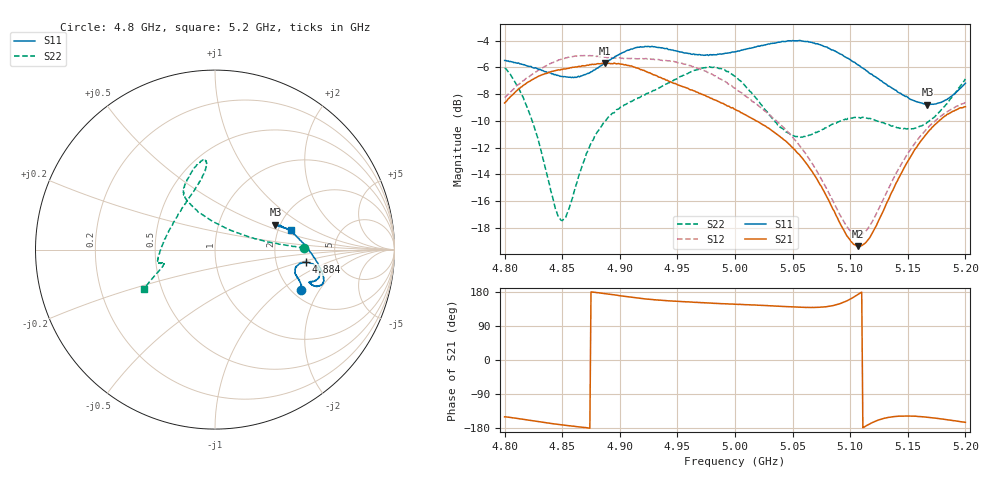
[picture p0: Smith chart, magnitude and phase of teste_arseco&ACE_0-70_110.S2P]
! Network Analyzer HP8722D
! Hewlett-Packard
! Data name: Linha & Wilkinson
! Saver's name: Rodrigo Anjos
! Comments: Teste da utilização de aquisição
! continua pelo VNA HP8722D
! Time and date: 8/5/2025 13:40
!  Frequency  S11  S21  S12  S22
# HZ  S  MA R 50
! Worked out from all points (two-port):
!   401 points, 4.8 GHz to 5.2 GHz, reference 50 ohm
!   highest |S21| = -5.67 dB at 4.887 GHz (marker M1); lowest = -19.4 dB at 5.107 GHz (marker M2)
!   |S21| within 3 dB of the highest: start of sweep to 4.988 GHz
!   lowest |S11| = -8.8 dB at 5.167 GHz (marker M3), VSWR 2.14, Z = 94.5 + j30.1 ohm
!   |S11| at or under -10 dB: nowhere
!   |S22| runs from -17.5 to -6.0 dB; largest |S21 - S12| = 1.1
!   S11 on the Smith chart (normalised r, x): 4.8 GHz: 2.24, -1.41; 4.884 GHz: 2.96, -0.55; 5.2 GHz: 2.35, +0.64
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4.8e9  0.532 -25.1  0.3689 -149.9  0.3864 9.7  0.4981 1.1
4.811e9  0.5195 -22.5  0.4116 -154.3  0.43 8.0  0.4271 2.7
4.822e9  0.5056 -20.6  0.4449 -159.2  0.4657 6.3  0.3339 6.1
4.848e9  0.4642 -16.2  0.4898 -170.5  0.5354 2.3  0.1362 56.9
4.854e9  0.4613 -14.8  0.4962 -172.9  0.5441 1.1  0.1416 81.6
4.867e9  0.4659 -11.2  0.5077 -177.4  0.5541 -0.6  0.2125 110.9
4.884e9  0.509 -7.7  0.5183 176.3  0.5499 -1.8  0.3016 119.3
4.887e9  0.5182 -8.0  0.5204 175.0  0.5468 -1.8  0.3147 119.6
4.914e9  0.5942 -11.7  0.4988 164.1  0.5397 -1.4  0.3821 116.9
4.934e9  0.5948 -16.0  0.4606 157.8  0.5361 -2.3  0.4195 111.5
4.976e9  0.5587 -19.1  0.3894 150.7  0.4798 -5.9  0.504 97.9
5e9  0.5731 -19.9  0.3493 147.1  0.4189 -5.8  0.4643 96.2
5.019e9  0.5998 -20.1  0.3153 144.6  0.3642 -3.1  0.3815 103.4
5.044e9  0.6264 -18.0  0.266 141.0  0.2929 2.3  0.2878 131.7
5.067e9  0.6209 -13.7  0.2045 138.9  0.2194 9.1  0.2821 164.9
5.096e9  0.5476 -3.6  0.1199 154.7  0.1297 35.1  0.3213 -171.7
5.107e9  0.5117 1.6  0.1076 173.5  0.1178 56.1  0.3254 -168.1
5.117e9  0.4753 6.5  0.1158 -168.5  0.1281 75.7  0.3231 -166.7
5.134e9  0.4258 14.6  0.1633 -151.0  0.1793 94.6  0.3057 -165.8
5.167e9  0.3641 22.3  0.2855 -151.1  0.2972 101.6  0.3127 -161.5
5.183e9  0.3788 20.1  0.3308 -157.0  0.3401 101.6  0.3633 -156.8
5.2e9  0.4374 14.6  0.3572 -164.6  0.3703 102.1  0.4536 -150.9
